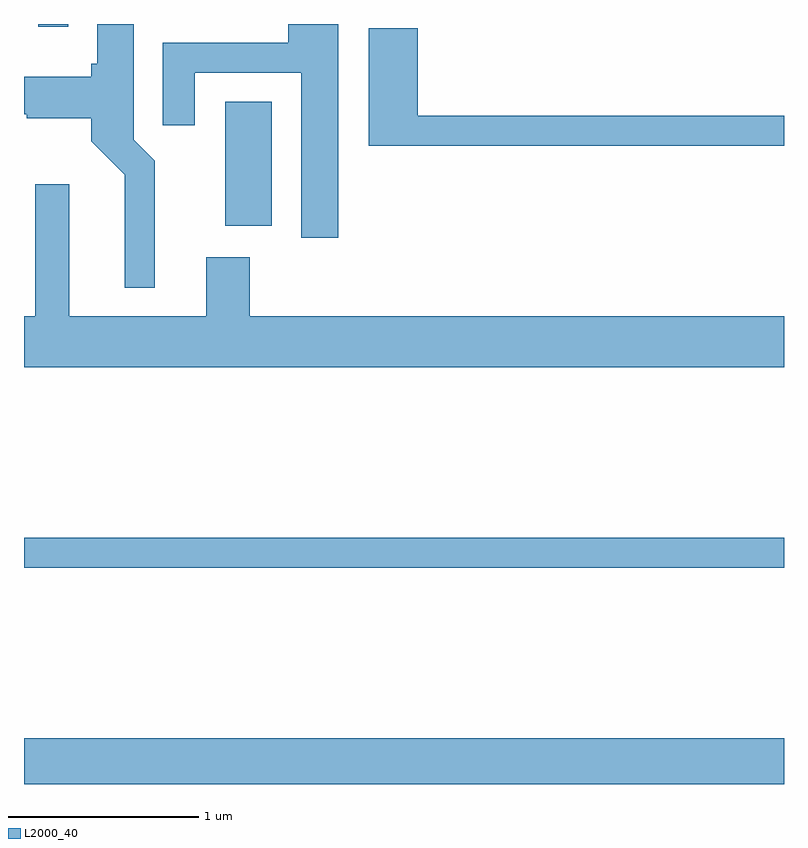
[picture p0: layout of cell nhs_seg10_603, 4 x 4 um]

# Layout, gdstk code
import gdstk
lib = gdstk.Library(unit=1e-6, precision=1e-09)
def R(c, l, rs):  # rectangles x0, y0, x1, y1
    for r in rs: c.add(gdstk.rectangle(r[:2], r[2:], *l))
def P(c, l, *ps):  # polygons
    for p in ps: c.add(gdstk.Polygon(p, *l))
L2000_40 = (2000, 40)

nhs_seg10_603 = lib.new_cell('nhs_seg10_603')
R(nhs_seg10_603, L2000_40, [(201.611,2200.522,205.611,2200.764), (201.611,2201.661,205.611,2201.819), (202.671,2203.461,202.914,2204.114), (201.686,2204.508,201.844,2204.522)])
P(nhs_seg10_603, L2000_40, [(202.299,2203.802),(202.189,2203.912),(202.189,2204.522),(201.996,2204.522),(201.996,2204.314),(201.966,2204.314),(201.966,2204.244),(201.611,2204.244),(201.611,2204.046),(201.626,2204.046),(201.626,2204.026),(201.966,2204.026),(201.966,2203.904),(202.141,2203.729),(202.141,2203.133),(202.299,2203.133)],
  [(203.264,2204.522),(203.001,2204.522),(203.001,2204.424),(202.341,2204.424),(202.341,2203.988),(202.509,2203.988),(202.509,2204.266),(203.071,2204.266),(203.071,2203.396),(203.264,2203.396)],
  [(205.611,2204.039),(203.684,2204.039),(203.684,2204.499),(203.426,2204.499),(203.426,2203.881),(205.611,2203.881)],
  [(205.611,2202.984),(202.799,2202.984),(202.799,2203.294),(202.571,2203.294),(202.571,2202.984),(201.849,2202.984),(201.849,2203.679),(201.671,2203.679),(201.671,2202.984),(201.611,2202.984),(201.611,2202.716),(205.611,2202.716)])

lib.write_gds('nhs_seg10_603.gds')
